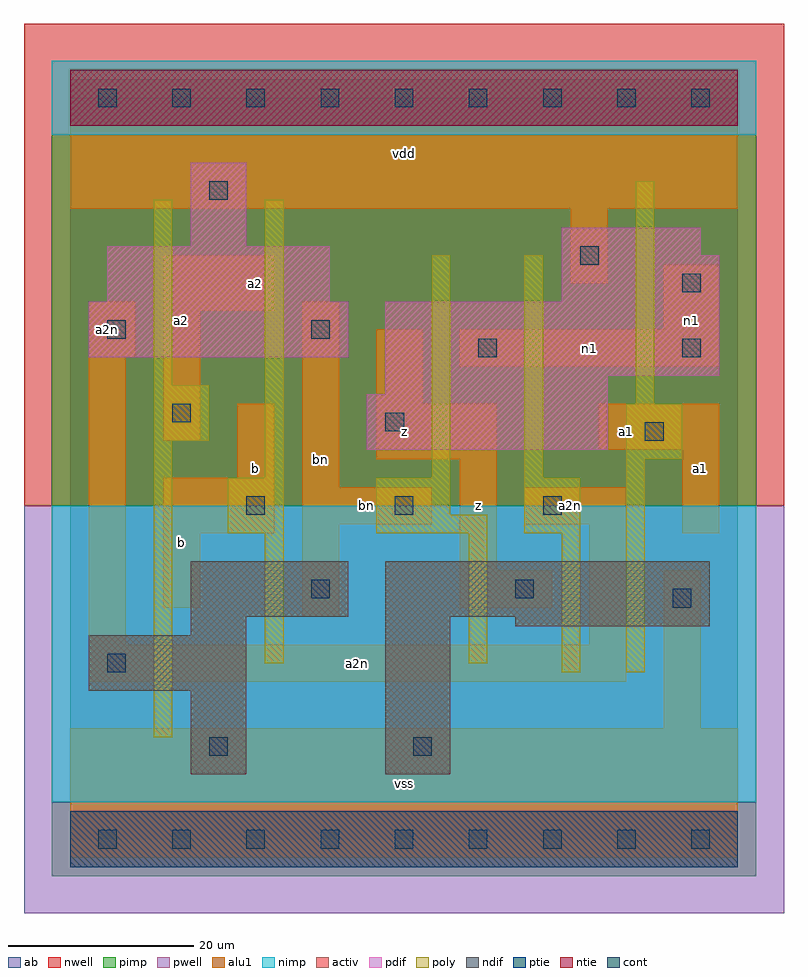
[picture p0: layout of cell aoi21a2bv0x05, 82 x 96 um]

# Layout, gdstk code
import gdstk
lib = gdstk.Library(unit=1e-6, precision=1e-09)
def R(c, l, rs):  # rectangles x0, y0, x1, y1
    for r in rs: c.add(gdstk.rectangle(r[:2], r[2:], *l))
def A(c, l, x, y, w, h, nx, ny, dx, dy):  # array of equal rectangles
    R(c, l, [(x+i*dx, y+j*dy, x+i*dx+w, y+j*dy+h) for i in range(nx) for j in range(ny)])
ndif = (3, 0)
pdif = (4, 0)
ntie = (5, 0)
ptie = (6, 0)
cont = (25, 0)
pwell = (41, 0)
nwell = (42, 0)
activ = (43, 0)
pimp = (44, 0)
nimp = (45, 0)
poly = (46, 0)
alu1 = (49, 0)
ab = (63, 0)

aoi21a2bv0x05 = lib.new_cell('aoi21a2bv0x05')
R(aoi21a2bv0x05, ndif, [(13,7,19,16), (34,7,41,24), (2,16,19,22), (13,22,19,24), (48,23,69,24), (13,24,30,30), (34,24,69,30)])
R(aoi21a2bv0x05, pdif, [(32,42,58,48), (34,48,58,50), (34,50,70,58), (2,52,30,58), (4,58,28,64), (53,58,70,63), (53,63,68,66), (13,64,19,73)])
R(aoi21a2bv0x05, ntie, [(0,77,72,83)])
R(aoi21a2bv0x05, ptie, [(0,-3,72,3)])
A(aoi21a2bv0x05, cont, 3, -1, 2, 2, 9, 2, 8, 80)
A(aoi21a2bv0x05, cont, 19, 35, 2, 2, 3, 1, 16, 0)
R(aoi21a2bv0x05, cont, [(15,9,17,11), (37,9,39,11), (4,18,6,20), (65,25,67,27), (26,26,28,28), (48,26,50,28), (62,43,64,45), (34,44,36,46), (11,45,13,47), (44,52,46,54), (66,52,68,54), (4,54,6,56), (26,54,28,56), (66,59,68,61), (55,62,57,64), (15,69,17,71)])
R(aoi21a2bv0x05, pwell, [(-5,-8,77,36)])
R(aoi21a2bv0x05, nwell, [(-5,36,77,88)])
R(aoi21a2bv0x05, activ, [(0,-3,72,3), (13,7,19,16), (34,7,41,24), (2,16,19,22), (13,22,19,24), (48,23,69,24), (13,24,30,30), (34,24,69,30), (32,42,58,48), (34,48,58,50), (34,50,70,58), (2,52,30,58), (4,58,28,64), (53,58,70,63), (53,63,68,66), (13,64,19,73), (0,77,72,83)])
R(aoi21a2bv0x05, pimp, [(-2,-4,74,4), (-2,36,74,76)])
R(aoi21a2bv0x05, nimp, [(-2,4,74,36), (-2,76,74,84)])
R(aoi21a2bv0x05, poly, [(9,11,11,43), (53,18,55,33), (60,18,62,41), (21,19,23,33), (43,19,45,33), (17,33,23,39), (33,33,45,35), (49,33,55,39), (33,35,41,39), (21,39,23,69), (39,39,41,63), (49,39,51,63), (60,41,66,47), (9,43,15,49), (61,47,63,71), (9,49,11,69)])
R(aoi21a2bv0x05, alu1, [(0,-2,72,12), (64,12,68,29), (2,17,60,21), (2,21,6,52), (56,21,60,34), (25,24,29,34), (10,25,14,33), (42,25,52,29), (42,29,46,41), (10,33,22,39), (66,33,70,42), (25,34,39,38), (49,34,60,38), (25,38,29,58), (18,39,22,47), (33,41,46,47), (57,42,70,47), (10,43,14,57), (33,47,38,55), (42,51,70,55), (2,52,7,58), (64,55,70,62), (10,57,22,63), (54,60,58,68), (0,68,72,82)])
R(aoi21a2bv0x05, ab, [(0,0,72,80)])
aoi21a2bv0x05.add(gdstk.Label('a2n', (4,55), layer=49, texttype=0))
aoi21a2bv0x05.add(gdstk.Label('bn', (27,41), layer=49, texttype=0))
aoi21a2bv0x05.add(gdstk.Label('bn', (32,36), layer=49, texttype=0))
aoi21a2bv0x05.add(gdstk.Label('a2n', (31,19), layer=49, texttype=0))
aoi21a2bv0x05.add(gdstk.Label('a2n', (54,36), layer=49, texttype=0))
aoi21a2bv0x05.add(gdstk.Label('n1', (56,53), layer=49, texttype=0))
aoi21a2bv0x05.add(gdstk.Label('n1', (67,56), layer=49, texttype=0))
aoi21a2bv0x05.add(gdstk.Label('b', (12,32), layer=49, texttype=0))
aoi21a2bv0x05.add(gdstk.Label('a2', (12,56), layer=49, texttype=0))
aoi21a2bv0x05.add(gdstk.Label('b', (20,40), layer=49, texttype=0))
aoi21a2bv0x05.add(gdstk.Label('a2', (20,60), layer=49, texttype=0))
aoi21a2bv0x05.add(gdstk.Label('vss', (36,6), layer=49, texttype=0))
aoi21a2bv0x05.add(gdstk.Label('z', (44,36), layer=49, texttype=0))
aoi21a2bv0x05.add(gdstk.Label('z', (36,44), layer=49, texttype=0))
aoi21a2bv0x05.add(gdstk.Label('vdd', (36,74), layer=49, texttype=0))
aoi21a2bv0x05.add(gdstk.Label('a1', (60,44), layer=49, texttype=0))
aoi21a2bv0x05.add(gdstk.Label('a1', (68,40), layer=49, texttype=0))

lib.write_gds('aoi21a2bv0x05.gds')
